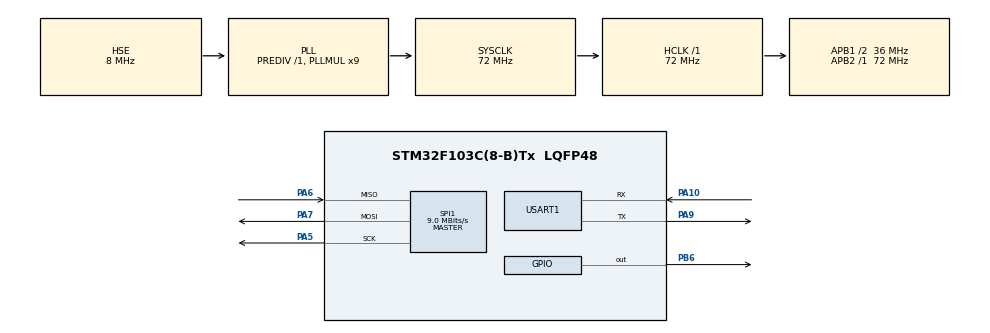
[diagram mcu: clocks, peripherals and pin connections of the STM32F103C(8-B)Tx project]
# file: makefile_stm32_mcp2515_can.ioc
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Mcu.Family=STM32F1
Mcu.Name=STM32F103C(8-B)Tx
Mcu.Package=LQFP48
NVIC.PriorityGroup=NVIC_PRIORITYGROUP_4
NVIC.SPI1_IRQn=true\:0\:0\:false\:false\:true\:true\:true\:true
NVIC.USART1_IRQn=true\:1\:0\:true\:false\:true\:true\:true\:true
PA10.Mode=Asynchronous
PA10.Signal=USART1_RX
PA13.Mode=Serial_Wire
PA13.Signal=SYS_JTMS-SWDIO
PA14.Mode=Serial_Wire
PA14.Signal=SYS_JTCK-SWCLK
PA5.Mode=Full_Duplex_Master
PA5.Signal=SPI1_SCK
PA6.Mode=Full_Duplex_Master
PA6.Signal=SPI1_MISO
PA7.Mode=Full_Duplex_Master
PA7.Signal=SPI1_MOSI
PA9.Mode=Asynchronous
PA9.Signal=USART1_TX
PB6.GPIO_Speed=GPIO_SPEED_FREQ_HIGH
PB6.Signal=GPIO_Output
PD0-OSC_IN.Mode=HSE-External-Oscillator
PD0-OSC_IN.Signal=RCC_OSC_IN
PD1-OSC_OUT.Mode=HSE-External-Oscillator
PD1-OSC_OUT.Signal=RCC_OSC_OUT
ProjectManager.HeapSize=0x200
ProjectManager.StackSize=0x400
ProjectManager.TargetToolchain=Makefile
RCC.AHBFreq_Value=72000000
RCC.APB1CLKDivider=RCC_HCLK_DIV2
RCC.APB1Freq_Value=36000000
RCC.APB1TimFreq_Value=72000000
RCC.APB2Freq_Value=72000000
RCC.APB2TimFreq_Value=72000000
RCC.HCLKFreq_Value=72000000
RCC.PLLMUL=RCC_PLL_MUL9
RCC.PLLSourceVirtual=RCC_PLLSOURCE_HSE
RCC.SYSCLKFreq_VALUE=72000000
RCC.SYSCLKSource=RCC_SYSCLKSOURCE_PLLCLK
RCC.USBFreq_Value=72000000
SPI1.BaudRatePrescaler=SPI_BAUDRATEPRESCALER_8
SPI1.CalculateBaudRate=9.0 MBits/s
SPI1.Direction=SPI_DIRECTION_2LINES
SPI1.Mode=SPI_MODE_MASTER
SPI1.VirtualType=VM_MASTER
USART1.VirtualMode=VM_ASYNC
board=custom

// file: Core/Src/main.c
/* USER CODE BEGIN Header */
/**
 ******************************************************************************
 * @file           : main.c
 * @brief          : Main program body
 ******************************************************************************
 * @attention
 *
 * Copyright (c) 2022 STMicroelectronics.
 * All rights reserved.
 *
 * This software is licensed under terms that can be found in the LICENSE file
 * in the root directory of this software component.
 * If no LICENSE file comes with this software, it is provided AS-IS.
 *
 ******************************************************************************
 */
/* USER CODE END Header */
#include "main.h"
#include "spi.h"
#include "usart.h"
#include "gpio.h"

/* USER CODE BEGIN Includes */
#include "CANSPI.h"

#include <stdio.h>
//串口重定�?
int _write(int fd, char *pBuffer, int size)
{
  for (int i = 0; i < size; i++)
  {
    while ((USART1->SR & UART_FLAG_TC) == 0) // Transmission Complete flags
      ;                                      //等待上一次串口数据发送完
    USART1->DR = (uint8_t)pBuffer[i];        //写DR,串口1将发送数
  }
  return size;
}

/* USER CODE END Includes */

/* USER CODE BEGIN PTD */
extern SPI_HandleTypeDef hspi1;
/* USER CODE END PTD */

/* USER CODE BEGIN PV */
uCAN_MSG txMessage;
uCAN_MSG rxMessage;
/* USER CODE END PV */

void SystemClock_Config(void);

int main(void)
{

  /* MCU Configuration--------------------------------------------------------*/

  /* Reset of all peripherals, Initializes the Flash interface and the Systick. */
  HAL_Init();

  /* Configure the system clock */
  SystemClock_Config();

  /* Initialize all configured peripherals */
  MX_GPIO_Init();
  MX_SPI1_Init();
  MX_USART1_UART_Init();
  /* USER CODE BEGIN 2 */
  while(CANSPI_Initialize()==false);
  /* USER CODE END 2 */

  /* Infinite loop */
  /* USER CODE BEGIN WHILE */
  while (1)
  {
    printf("hello world\r\n");
    HAL_GPIO_TogglePin(GPIOC, GPIO_PIN_13);
    HAL_Delay(100 - 1);

    if (CANSPI_Receive(&rxMessage))
    {
      txMessage.frame.idType = rxMessage.frame.idType;
      txMessage.frame.id = rxMessage.frame.id;
      txMessage.frame.dlc = rxMessage.frame.dlc;
      txMessage.frame.data0++;
      txMessage.frame.data1 = rxMessage.frame.data1;
      txMessage.frame.data2 = rxMessage.frame.data2;
      txMessage.frame.data3 = rxMessage.frame.data3;
      txMessage.frame.data4 = rxMessage.frame.data4;
      txMessage.frame.data5 = rxMessage.frame.data5;
      txMessage.frame.data6 = rxMessage.frame.data6;
      txMessage.frame.data7 = rxMessage.frame.data7;
      CANSPI_Transmit(&txMessage);
    }

    txMessage.frame.idType = dSTANDARD_CAN_MSG_ID_2_0B;
    txMessage.frame.id = 0x0A;
    txMessage.frame.dlc = 8;
    txMessage.frame.data0 = 0;
    txMessage.frame.data1 = 1;
    txMessage.frame.data2 = 2;
    txMessage.frame.data3 = 3;
    txMessage.frame.data4 = 4;
    txMessage.frame.data5 = 5;
    txMessage.frame.data6 = 6;
    txMessage.frame.data7 = 7;
    CANSPI_Transmit(&txMessage);
    /* USER CODE END WHILE */

  }
}

void SystemClock_Config(void)
{
  RCC_OscInitTypeDef RCC_OscInitStruct = {0};
  RCC_ClkInitTypeDef RCC_ClkInitStruct = {0};

  /** Initializes the RCC Oscillators according to the specified parameters
  * in the RCC_OscInitTypeDef structure.
  */
  RCC_OscInitStruct.OscillatorType = RCC_OSCILLATORTYPE_HSE;
  RCC_OscInitStruct.HSEState = RCC_HSE_ON;
  RCC_OscInitStruct.HSEPredivValue = RCC_HSE_PREDIV_DIV1;
  RCC_OscInitStruct.HSIState = RCC_HSI_ON;
  RCC_OscInitStruct.PLL.PLLState = RCC_PLL_ON;
  RCC_OscInitStruct.PLL.PLLSource = RCC_PLLSOURCE_HSE;
  RCC_OscInitStruct.PLL.PLLMUL = RCC_PLL_MUL9;
  if (HAL_RCC_OscConfig(&RCC_OscInitStruct) != HAL_OK)
  {
    Error_Handler();
  }

  /** Initializes the CPU, AHB and APB buses clocks
  */
  RCC_ClkInitStruct.ClockType = RCC_CLOCKTYPE_HCLK|RCC_CLOCKTYPE_SYSCLK
                              |RCC_CLOCKTYPE_PCLK1|RCC_CLOCKTYPE_PCLK2;
  RCC_ClkInitStruct.SYSCLKSource = RCC_SYSCLKSOURCE_PLLCLK;
  RCC_ClkInitStruct.AHBCLKDivider = RCC_SYSCLK_DIV1;
  RCC_ClkInitStruct.APB1CLKDivider = RCC_HCLK_DIV2;
  RCC_ClkInitStruct.APB2CLKDivider = RCC_HCLK_DIV1;

  if (HAL_RCC_ClockConfig(&RCC_ClkInitStruct, FLASH_LATENCY_2) != HAL_OK)
  {
    Error_Handler();
  }
}

void Error_Handler(void)
{
  __disable_irq();
  while (1)
  {
  }
}
